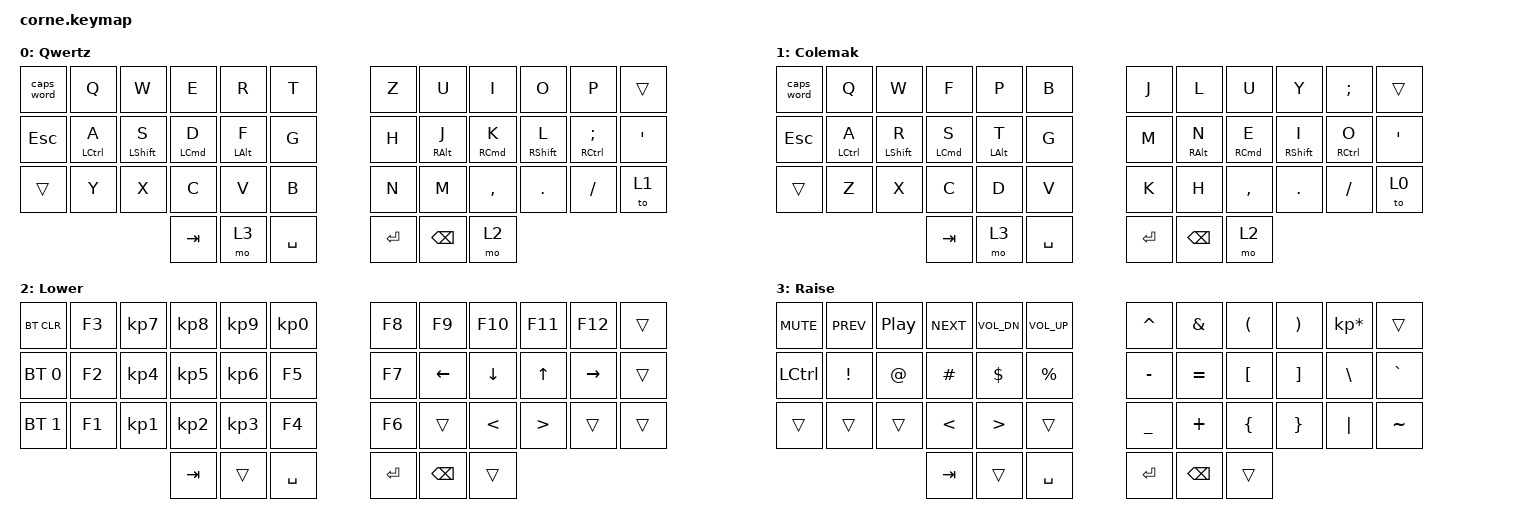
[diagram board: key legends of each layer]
/*
 * Copyright (c) 2020 The ZMK Contributors
 *
 * SPDX-License-Identifier: MIT
 */

#include <behaviors.dtsi>
#include <dt-bindings/zmk/bt.h>
#include <dt-bindings/zmk/keys.h>

/ {
    behaviors {
        hold_tap: hold_tap {
            compatible = "zmk,behavior-hold-tap";
            label = "HOLD_TAP";
            bindings = <&kp>, <&kp>;

            #binding-cells = <2>;
            tapping-term-ms = <250>;
            flavor = "tap-preferred";
        };
    };

    keymap {
        compatible = "zmk,keymap";

        default_layer {
            // -----------------------------------------------------------------------------------------
            // |  TAB |  Q  |  W  |  E  |  R  |  T  |   |  Y  |  U   |  I  |  O  |  P  | BKSP |
            // | CTRL |  A  |  S  |  D  |  F  |  G  |   |  H  |  J   |  K  |  L  |  ;  |  '   |
            // | SHFT |  Z  |  X  |  C  |  V  |  B  |   |  N  |  M   |  ,  |  .  |  /  | ESC  |
            //                    | GUI | LWR | SPC |   | ENT | RSE  | ALT |

            display-name = "Qwertz";
            bindings = <
&caps_word  &kp Q                     &kp W                   &kp E                     &kp R                 &kp T        &kp Z    &kp U                  &kp I                      &kp O                    &kp P                         &trans
&kp ESC     &hold_tap LEFT_CONTROL A  &hold_tap LEFT_SHIFT S  &hold_tap LEFT_COMMAND D  &hold_tap LEFT_ALT F  &kp G        &kp H    &hold_tap RIGHT_ALT J  &hold_tap RIGHT_COMMAND K  &hold_tap RIGHT_SHIFT L  &hold_tap RIGHT_CONTROL SEMI  &kp SQT
&trans      &kp Y                     &kp X                   &kp C                     &kp V                 &kp B        &kp N    &kp M                  &kp COMMA                  &kp DOT                  &kp FSLH                      &to 1
                                                              &kp TAB                   &mo 3                 &kp SPACE    &kp RET  &kp BACKSPACE          &mo 2
            >;
        };

        colemak_layer {
            display-name = "Colemak";
            bindings = <
&caps_word  &kp Q                     &kp W                   &kp F                     &kp P                 &kp B        &kp J    &kp L                  &kp U                      &kp Y                    &kp SEMICOLON              &trans
&kp ESC     &hold_tap LEFT_CONTROL A  &hold_tap LEFT_SHIFT R  &hold_tap LEFT_COMMAND S  &hold_tap LEFT_ALT T  &kp G        &kp M    &hold_tap RIGHT_ALT N  &hold_tap RIGHT_COMMAND E  &hold_tap RIGHT_SHIFT I  &hold_tap RIGHT_CONTROL O  &kp SQT
&trans      &kp Z                     &kp X                   &kp C                     &kp D                 &kp V        &kp K    &kp H                  &kp COMMA                  &kp DOT                  &kp FSLH                   &to 0
                                                              &kp TAB                   &mo 3                 &kp SPACE    &kp RET  &kp BACKSPACE          &mo 2
            >;
        };

        lower_layer {
            // -----------------------------------------------------------------------------------------
            // |  TAB |  1  |  2  |  3  |  4  |  5  |   |  6  |  7  |  8  |  9  |  0  | BKSP |
            // | BTCLR| BT1 | BT2 | BT3 | BT4 | BT5 |   | LFT | DWN |  UP | RGT |     |      |
            // | SHFT |     |     |     |     |     |   |     |     |     |     |     |      |
            //                    | GUI |     | SPC |   | ENT |     | ALT |

            display-name = "Lower";
            bindings = <
&bt BT_CLR    &kp F3  &kp KP_NUMBER_7  &kp KP_NUMBER_8  &kp KP_NUMBER_9  &kp KP_NUMBER_0    &kp F8   &kp F9          &kp F10         &kp F11       &kp F12          &trans
&bt BT_SEL 0  &kp F2  &kp KP_NUMBER_4  &kp KP_NUMBER_5  &kp KP_NUMBER_6  &kp F5             &kp F7   &kp LEFT_ARROW  &kp DOWN_ARROW  &kp UP_ARROW  &kp RIGHT_ARROW  &trans
&bt BT_SEL 1  &kp F1  &kp KP_NUMBER_1  &kp KP_NUMBER_2  &kp KP_NUMBER_3  &kp F4             &kp F6   &trans          &kp LT          &kp GT        &trans           &trans
                                       &kp TAB          &trans           &kp SPACE          &kp RET  &kp BACKSPACE   &trans
            >;
        };

        raise_layer {
            // -----------------------------------------------------------------------------------------
            // |  TAB |  !  |  @  |  #  |  $  |  %  |   |  ^  |  &  |  *  |  (  |  )  | BKSP |
            // | CTRL |     |     |     |     |     |   |  -  |  =  |  [  |  ]  |  \  |  `   |
            // | SHFT |     |     |     |     |     |   |  _  |  +  |  {  |  }  | "|" |  ~   |
            //                    | GUI |     | SPC |   | ENT |     | ALT |

            display-name = "Raise";
            bindings = <
&kp C_MUTE  &kp C_PREV  &kp C_PLAY_PAUSE  &kp C_NEXT  &kp C_VOL_DN  &kp C_VOL_UP    &kp CARET  &kp AMPS       &kp LEFT_PARENTHESIS  &kp RIGHT_PARENTHESIS  &kp KP_MULTIPLY  &trans
&kp LCTRL   &kp EXCL    &kp AT            &kp HASH    &kp DOLLAR    &kp PERCENT     &kp MINUS  &kp EQUAL      &kp LBKT              &kp RBKT               &kp BSLH         &kp GRAVE
&trans      &trans      &trans            &kp LT      &kp GT        &trans          &kp UNDER  &kp PLUS       &kp LBRC              &kp RBRC               &kp PIPE         &kp TILDE
                                          &kp TAB     &trans        &kp SPACE       &kp RET    &kp BACKSPACE  &trans
            >;
        };
    };
};
